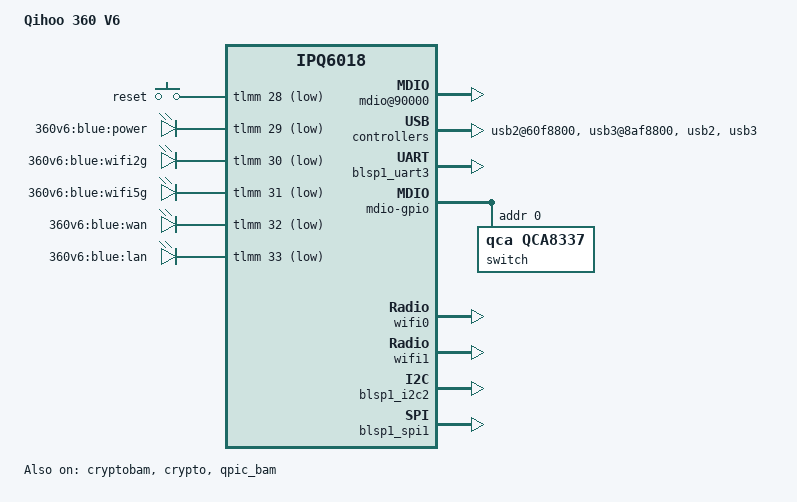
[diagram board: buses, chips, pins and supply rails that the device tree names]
// SPDX-License-Identifier: GPL-2.0-or-later OR MIT

#include "ipq6018.dtsi"

#include <dt-bindings/gpio/gpio.h>
#include <dt-bindings/input/input.h>
#include <dt-bindings/soc/qcom,tcsr.h>

/ {
	model = "Qihoo 360 V6";
	compatible = "qihoo,360v6";

	aliases {
		led-boot = &led_power;
		led-failsafe = &led_power;
		led-running = &led_power;
		led-upgrade = &led_power;
	};

	chosen {
		bootargs-append = " ubi.mtd=rootfs root=/dev/ubiblock0_1";
	};

	soc {
		rng@22000 {
			status = "okay";
		};

		mdio@90000 {
			status = "okay";
		};

		ess-psgmii@98000 {
			status = "okay";
		};

		tcsr@1949000 {
			compatible = "qcom,tcsr";
			reg = <0x1949000 0x100>;
			qcom,wifi_glb_cfg = <TCSR_WIFI_GLB_CFG>;
		};

		tcsr@194b000 {
			compatible = "qcom,tcsr";
			reg = <0x194b000 0x100>;
			qcom,usb-hsphy-mode-select = <TCSR_USB_HSPHY_HOST_MODE>;
		};

		ess_tcsr@1953000 {
			compatible = "qcom,tcsr";
			reg = <0x1953000 0x1000>;
			qcom,ess-interface-select = <TCSR_ESS_PSGMII>;
		};

		tcsr@1957000 {
			compatible = "qcom,tcsr";
			reg = <0x1957000 0x100>;
			qcom,wifi_noc_memtype_m0_m2 = <TCSR_WIFI_NOC_MEMTYPE_M0_M2>;
		};

		usb2@60f8800 {
			status = "okay";

			dwc3@6000000 {
				#address-cells = <1>;
				#size-cells = <0>;

				usb2_port1: port@1 {
					reg = <1>;
					#trigger-source-cells = <0>;
				};
			};
		};

		usb3@8af8800 {
			status = "okay";

			dwc3@8a00000 {
				#address-cells = <1>;
				#size-cells = <0>;

				usb3_port1: port@1 {
					reg = <1>;
					#trigger-source-cells = <0>;
				};

				usb3_port2: port@2 {
					reg = <2>;
					#trigger-source-cells = <0>;
				};
			};
		};

		crypto@8e3a000 {
			status = "okay";
		};

		watchdog@b017000 {
			status = "okay";
		};

		ess-switch@c000000 {
			status = "okay";
		};

		edma@c080000 {
			status = "okay";
		};
	};

	keys {
		compatible = "gpio-keys";

		reset {
			label = "reset";
			gpios = <&tlmm 28 GPIO_ACTIVE_LOW>;
			linux,code = <KEY_RESTART>;
		};
	};

	leds {
		compatible = "gpio-leds";

		led_power: power {
			label = "360v6:blue:power";
			gpios = <&tlmm 29 GPIO_ACTIVE_LOW>;
			default-state = "on";
		};

		wifi2g {
			label = "360v6:blue:wifi2g";
			gpios = <&tlmm 30 GPIO_ACTIVE_LOW>;
		};

		wifi5g {
			label = "360v6:blue:wifi5g";
			gpios = <&tlmm 31 GPIO_ACTIVE_LOW>;
		};

		wan {
			label = "360v6:blue:wan";
			gpios = <&tlmm 32 GPIO_ACTIVE_LOW>;
		};

		lan {
			label = "360v6:blue:lan";
			gpios = <&tlmm 33 GPIO_ACTIVE_LOW>;
		};
	};
};

&blsp1_uart3 {
	status = "okay";
};

&cryptobam {
	status = "okay";
};

&crypto {
	status = "okay";
};

&qpic_bam {
	status = "okay";
};

&tlmm {
	mdio-gpio {
		compatible = "virtual,mdio-gpio";
		gpio-mdc = <&tlmm 34 GPIO_ACTIVE_HIGH>;
		gpio-mdio = <&tlmm 35 GPIO_ACTIVE_HIGH>;
		#address-cells = <1>;
		#size-cells = <0>;

		switch@0 {
			reg = <0>;
			compatible = "qca,qca8337";
		};
	};
};

&usb2 {
	status = "okay";
};

&usb3 {
	status = "okay";
};

&wifi0 {
	status = "okay";
	qcom,ath11k-calibration-variant = "qihoo_360v6";
};

&wifi1 {
	status = "okay";
	qcom,ath11k-calibration-variant = "qihoo_360v6";
};

&blsp1_i2c2 {
	status = "okay";
};

&blsp1_spi1 {
	status = "okay";
};
